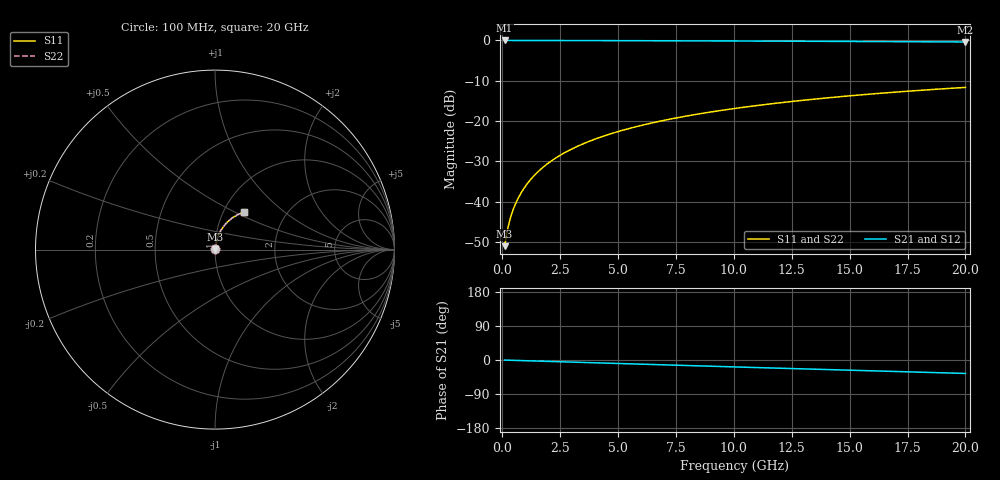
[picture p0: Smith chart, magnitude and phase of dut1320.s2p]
! Touchstone file exported from HFSS 2026.1.0
!  File:  C:/ffzhzh/LocalFiles/Ansys_Project_Files/temp_train_TMRDL_1320_1783165025_55132.aedt
!  Generated:  07:38:22 PM Jul  4, 2026
!  Design:  TMRDL
!  Project:  temp_train_TMRDL_1320_1783165025_55132
! Variables:
!  h_bsmrdl = 2um
!  h_ox = 20um
!  h_rdl = 5um
!  h_sub = 80um
!  h_tmrdl = 3.4um
!  h_tsv = 80um
!  h_via = 3um
!  l_bsmrdl = 300um
!  l_sub = 939.3um
!  l_tmrdl = 539.3um
!  m_sub = 200um
!  pitch = 49.04um
!  r_tsv = 6um
!  s_tmrdl = 10um
!  w_bsmrdl = 18um
!  w_sub = 500um
!  w_tmrdl = 29.44um
!  x_tsv_center1 = 554.02um
!  x_tsv_center2 = 872.02um
!  x_tsv_center3 = 1440.76um
!  x_tsv_center4 = 1758.76um
!  x_tsv_center5 = 2327.5um
!  x_tsv_center6 = 2645.5um
# GHz S MA R 50.000000
! Terminal data exported
! Port[1] = TM_RDL1_1_T1
! Port[2] = TM_RDL1_1_T2
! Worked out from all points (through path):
!   200 points, 100 MHz to 20 GHz, reference 50 ohm
!   highest |S21| = -0.02 dB at 100 MHz (marker M1); lowest = -0.4 dB at 20 GHz (marker M2)
!   group delay of S21, straight-line fit = 4.92 ps
!   lowest |S11| = -51.0 dB at 100 MHz (marker M3), VSWR 1.01, Z = 50.2 + j0.177 ohm
!   |S11| at or under -10 dB: start of sweep to end of sweep
!   |S22| runs from -51.0 to -11.7 dB; largest |S21 - S12| = 2.7e-15
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0.1  0.002816 38.6  0.9978 -0.2  0.9978 -0.2  0.002816 38.6
! Gamma 0 0 0 0
! Port Impedance 50 0 50 0
0.2  0.004164 54.9  0.9976 -0.4  0.9976 -0.4  0.004164 54.9
0.3  0.005592 62.3  0.9974 -0.6  0.9974 -0.6  0.005591 62.3
0.4  0.00701 66.7  0.9973 -0.8  0.9973 -0.8  0.007009 66.7
0.5  0.008423 69.7  0.9972 -1.0  0.9972 -1.0  0.008423 69.8
0.6  0.009842 72.0  0.9971 -1.1  0.9971 -1.1  0.009841 72.0
0.8  0.01271 75.0  0.997 -1.5  0.997 -1.5  0.01271 75.0
1.1  0.01706 77.6  0.9968 -2.1  0.9968 -2.1  0.01706 77.6
1.3  0.01999 78.6  0.9967 -2.4  0.9967 -2.4  0.01999 78.6
1.6  0.02441 79.5  0.9965 -3.0  0.9965 -3.0  0.02441 79.5
2.1  0.0318 80.1  0.9962 -3.9  0.9962 -3.9  0.0318 80.1
2.7  0.04065 80.0  0.9957 -5.0  0.9957 -5.0  0.04065 80.0
3.5  0.05239 79.3  0.9948 -6.5  0.9948 -6.5  0.05239 79.3
4.2  0.06257 78.4  0.9939 -7.8  0.9939 -7.8  0.06257 78.4
5  0.0741 77.3  0.9927 -9.2  0.9927 -9.2  0.07409 77.3
5.9  0.08689 75.8  0.9913 -10.9  0.9913 -10.9  0.08689 75.9
6.8  0.0995 74.4  0.9896 -12.5  0.9896 -12.5  0.0995 74.4
8.3  0.1201 71.9  0.9867 -15.2  0.9867 -15.2  0.1201 71.9
10.1  0.1441 68.9  0.9827 -18.4  0.9827 -18.4  0.1441 68.9
13.4  0.1861 63.4  0.9746 -24.2  0.9746 -24.2  0.1861 63.4
16.7  0.2253 57.9  0.9655 -29.9  0.9655 -29.9  0.2253 57.9
20  0.2614 52.5  0.9558 -35.5  0.9558 -35.5  0.2614 52.6
